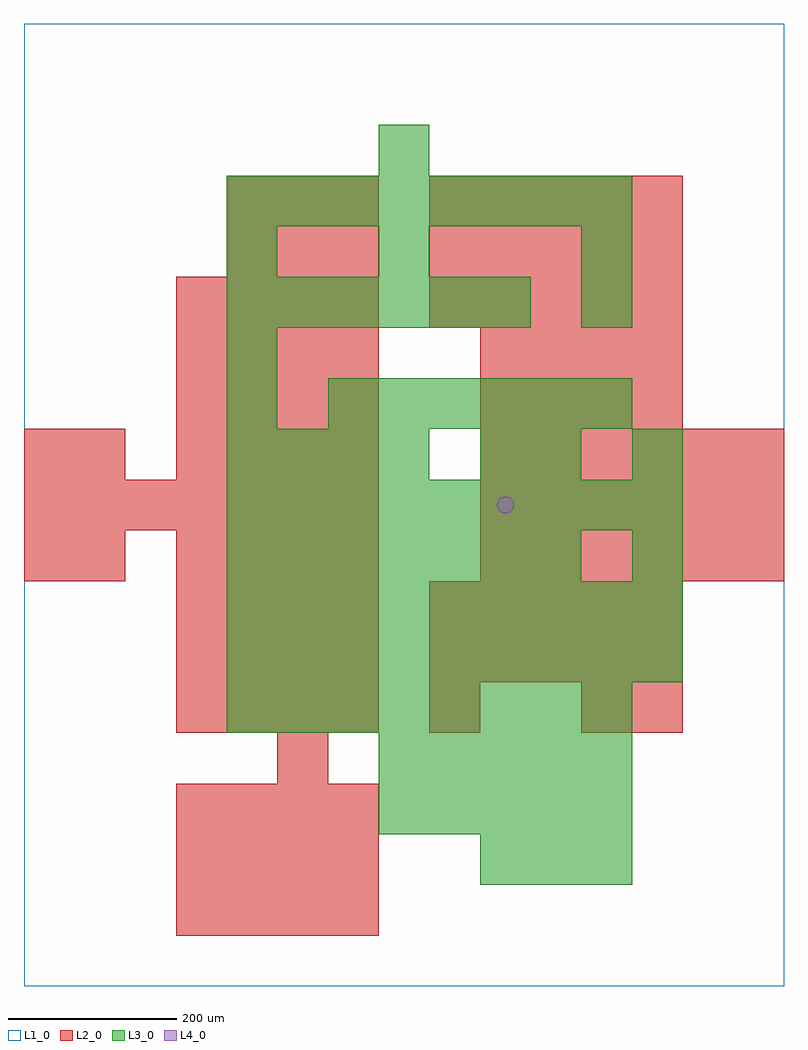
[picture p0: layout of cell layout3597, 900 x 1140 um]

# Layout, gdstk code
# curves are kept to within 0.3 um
import gdstk
lib = gdstk.Library(unit=1e-6, precision=1e-09)
def R(c, l, rs):  # rectangles x0, y0, x1, y1
    for r in rs: c.add(gdstk.rectangle(r[:2], r[2:], *l))
def A(c, l, x, y, w, h, nx, ny, dx, dy):  # array of equal rectangles
    R(c, l, [(x+i*dx, y+j*dy, x+i*dx+w, y+j*dy+h) for i in range(nx) for j in range(ny)])
def P(c, l, *ps):  # polygons
    for p in ps: c.add(gdstk.Polygon(p, *l))
L1_0 = (1, 0)
L2_0 = (2, 0)
L3_0 = (3, 0)
L4_0 = (4, 0)

layout3597 = lib.new_cell('layout3597')
R(layout3597, L1_0, [(0,0,900,1140)])
A(layout3597, L2_0, 180, 60, 60, 60, 4, 3, 60, 60)
A(layout3597, L2_0, 180, 300, 60, 60, 4, 4, 60, 60)
A(layout3597, L2_0, 480, 360, 60, 60, 5, 2, 60, 60)
A(layout3597, L2_0, 540, 480, 60, 60, 6, 3, 60, 60)
A(layout3597, L2_0, 0, 540, 60, 60, 7, 1, 60, 0)
A(layout3597, L2_0, 180, 600, 60, 60, 4, 4, 60, 60)
A(layout3597, L2_0, 540, 660, 60, 60, 4, 2, 60, 60)
A(layout3597, L2_0, 480, 780, 60, 60, 5, 3, 60, 60)
A(layout3597, L2_0, 240, 840, 60, 60, 3, 2, 60, 60)
R(layout3597, L2_0, [(300,240,360,300), (480,300,540,360), (660,300,720,360), (720,300,780,360), (0,480,60,540), (60,480,120,540), (0,600,60,660), (60,600,120,660)])
A(layout3597, L3_0, 540, 120, 60, 60, 3, 1, 60, 0)
A(layout3597, L3_0, 420, 180, 60, 60, 5, 2, 60, 60)
A(layout3597, L3_0, 240, 300, 60, 60, 8, 2, 60, 600)
A(layout3597, L3_0, 240, 360, 60, 60, 9, 2, 60, 60)
A(layout3597, L3_0, 240, 480, 60, 60, 7, 1, 60, 0)
A(layout3597, L3_0, 240, 540, 60, 60, 9, 1, 60, 0)
A(layout3597, L3_0, 240, 600, 60, 60, 4, 1, 60, 0)
A(layout3597, L3_0, 360, 660, 60, 60, 6, 1, 60, 0)
A(layout3597, L3_0, 240, 780, 60, 60, 6, 1, 60, 0)
R(layout3597, L3_0, [(720,480,780,540), (540,600,600,660), (600,600,660,660), (720,600,780,660), (240,660,300,720), (240,720,300,780), (660,780,720,840), (240,840,300,900), (420,840,480,900), (660,840,720,900), (420,960,480,1020)])
P(layout3597, L4_0, [(580,570),(579.239,573.827),(577.071,577.071),(573.827,579.239),(570,580),(566.173,579.239),(562.929,577.071),(560.761,573.827),(560,570),(560.761,566.173),(562.929,562.929),(566.173,560.761),(570,560),(573.827,560.761),(577.071,562.929),(579.239,566.173)])

lib.write_gds('layout3597.gds')
